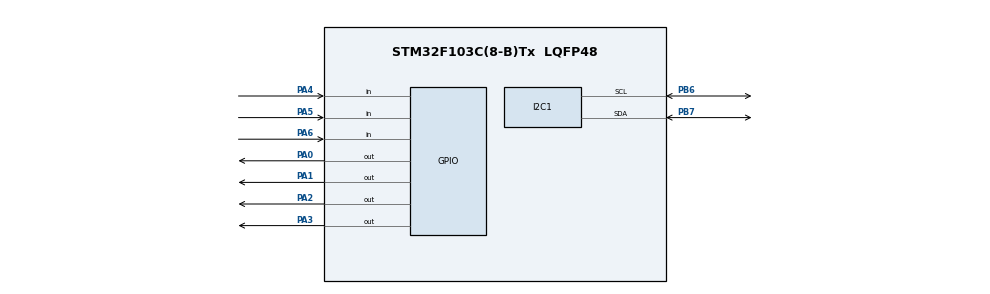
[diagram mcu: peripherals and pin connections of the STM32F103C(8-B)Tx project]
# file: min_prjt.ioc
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I2C1.I2C_Mode=I2C_Fast
Mcu.Family=STM32F1
Mcu.Name=STM32F103C(8-B)Tx
Mcu.Package=LQFP48
NVIC.PriorityGroup=NVIC_PRIORITYGROUP_4
PA0-WKUP.Signal=GPIO_Output
PA1.Signal=GPIO_Output
PA13.Mode=Serial_Wire
PA13.Signal=SYS_JTMS-SWDIO
PA14.Mode=Serial_Wire
PA14.Signal=SYS_JTCK-SWCLK
PA2.Signal=GPIO_Output
PA3.Signal=GPIO_Output
PA4.GPIO_PuPd=GPIO_PULLUP
PA4.Signal=GPIO_Input
PA5.GPIO_PuPd=GPIO_PULLUP
PA5.Signal=GPIO_Input
PA6.GPIO_PuPd=GPIO_PULLUP
PA6.Signal=GPIO_Input
PB6.Mode=I2C
PB6.Signal=I2C1_SCL
PB7.Mode=I2C
PB7.Signal=I2C1_SDA
PD0-OSC_IN.Mode=HSE-External-Oscillator
PD0-OSC_IN.Signal=RCC_OSC_IN
PD1-OSC_OUT.Mode=HSE-External-Oscillator
PD1-OSC_OUT.Signal=RCC_OSC_OUT
ProjectManager.HeapSize=0x200
ProjectManager.StackSize=0x400
ProjectManager.TargetToolchain=STM32CubeIDE
RCC.APB1Freq_Value=8000000
RCC.APB2Freq_Value=8000000
board=custom

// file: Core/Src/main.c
/* USER CODE BEGIN Header */
/**
  ******************************************************************************
  * @file           : main.c
  * @brief          : Main program body
  ******************************************************************************
  * @attention
  *
  * Copyright (c) 2025 STMicroelectronics.
  * All rights reserved.
  *
  * This software is licensed under terms that can be found in the LICENSE file
  * in the root directory of this software component.
  * If no LICENSE file comes with this software, it is provided AS-IS.
  *
  ******************************************************************************
  */
/* USER CODE END Header */
#include "main.h"
#include "ssd1306.h"
#include "fonts.h"
#include <stdio.h>
#include <string.h>
#include <stdlib.h>
#include <math.h>

I2C_HandleTypeDef hi2c1;

void SystemClock_Config(void);
static void MX_GPIO_Init(void);
static void MX_I2C1_Init(void);

/* USER CODE BEGIN 0 */
// ---- KEYPAD PIN DEFINITIONS ----
// Rows: PA0–PA3 (Output)
// Cols: PA4–PA6 (Input + Pull-up)
#define ROW1_Pin GPIO_PIN_0
#define ROW2_Pin GPIO_PIN_1
#define ROW3_Pin GPIO_PIN_2
#define ROW4_Pin GPIO_PIN_3
#define COL1_Pin GPIO_PIN_4
#define COL2_Pin GPIO_PIN_5
#define COL3_Pin GPIO_PIN_6
#define KEYPAD_PORT GPIOA

// ---- FUNCTION DECLARATIONS ----
char Keypad_GetKey(void);
int get_int_from_keypad(char* label);

/* USER CODE END 0 */

int main(void)
{

  /* MCU Configuration--------------------------------------------------------*/

  /* Reset of all peripherals, Initializes the Flash interface and the Systick. */
  HAL_Init();

  /* Configure the system clock */
  SystemClock_Config();

  /* Initialize all configured peripherals */
  MX_GPIO_Init();
  MX_I2C1_Init();
  /* USER CODE BEGIN 2 */
  SSD1306_Init();
  SSD1306_Clear();
  SSD1306_GotoXY(0, 0);
  SSD1306_Puts("BMI Calculator", &Font_7x10, SSD1306_COLOR_WHITE);
  SSD1306_UpdateScreen();
  HAL_Delay(1500);

  // Get Weight (integer)
      int weight = get_int_from_keypad("W(kg):");
      // Get Height (integer)
      int height_cm = get_int_from_keypad("H(cm):");
      float height_m = height_cm / 100.0f;
      float bmi = (float)weight / (height_m * height_m);

      // ---------------------- BMI DISPLAY ----------------------
      char line[30];
      const char* category;
      const char* remark;

      // Determine BMI category and remark
      if (bmi < 18.5f) {
          category = "Underweight";
          remark = "<18.5 = Underweight";
      }
      else if (bmi < 25.0f) {
          category = "Normal";
          remark = "18.5-24.9 = Normal";
      }
      else if (bmi < 30.0f) {
          category = "Overweight";
          remark = "25-29.9 = Overweight";
      }
      else {
          category = "Obese";
          remark = ">=30 = Obese";
      }

      // Clear and display
      SSD1306_Clear();
      SSD1306_GotoXY(0, 0);
      SSD1306_Puts("Result:", &Font_11x18, SSD1306_COLOR_WHITE);

      // Combine BMI + category like “31.12 (Obese)”
      SSD1306_GotoXY(0, 25);
      int integer = (int)bmi;
      int decimal = (int)((bmi - integer) * 100);
      sprintf(line, "%d.%02d (%s)", integer, abs(decimal), category);
      SSD1306_Puts(line, &Font_7x10, SSD1306_COLOR_WHITE);

      // Add bottom description
      SSD1306_GotoXY(0, 50);
      SSD1306_Puts((char*)remark, &Font_7x10, SSD1306_COLOR_WHITE);

      SSD1306_UpdateScreen();

  /* USER CODE END 2 */

  /* Infinite loop */
  while (1)
  {

  }
}

// ---- INTEGER KEYPAD INPUT ----
int get_int_from_keypad( char* label)
{
    char input[4] = ""; // only 3 digits + null
    uint8_t index = 0;
    char key;

    SSD1306_Clear();
    SSD1306_GotoXY(0, 0);
    SSD1306_Puts(label, &Font_11x18, SSD1306_COLOR_WHITE);
    SSD1306_UpdateScreen();

    while (1)
        {
            key = Keypad_GetKey();
            if (key != 0)
            {
                if (key >= '0' && key <= '9')
                {
                    if (index < 3)
                    {
                        input[index++] = key;
                        input[index] = '\0';
                    }
                }
                else if (key == '#') // Enter key
                {
                    if (index > 0) break; // only accept if something entered
                }
                else if (key == '*') // Clear key
                {
                    index = 0;
                    input[0] = '\0';
                }

                // Update display
                SSD1306_GotoXY(0, 30);
                SSD1306_Puts("               ", &Font_11x18, SSD1306_COLOR_BLACK);
                SSD1306_GotoXY(0, 30);
                SSD1306_Puts(input, &Font_11x18, SSD1306_COLOR_WHITE);
                SSD1306_UpdateScreen();
            }
        }

        return atoi(input);
    }

// ---- KEYPAD SCAN FUNCTION ----
const char keypad[4][3] = {
    {'1', '2', '3'},
    {'4', '5', '6'},
    {'7', '8', '9'},
    {'*', '0', '#'}
};

char Keypad_GetKey(void)
{
    for (int row = 0; row < 4; row++)
    {
        // Set all rows HIGH
        HAL_GPIO_WritePin(KEYPAD_PORT, ROW1_Pin | ROW2_Pin | ROW3_Pin | ROW4_Pin, GPIO_PIN_SET);
        // Pull one row LOW
        HAL_GPIO_WritePin(KEYPAD_PORT, (ROW1_Pin << row), GPIO_PIN_RESET);

        for (int col = 0; col < 3; col++)
        {
            if (HAL_GPIO_ReadPin(KEYPAD_PORT, (COL1_Pin << col)) == GPIO_PIN_RESET)
            {
                HAL_Delay(150); // debounce
                while (HAL_GPIO_ReadPin(KEYPAD_PORT, (COL1_Pin << col)) == GPIO_PIN_RESET);
                return keypad[row][col];
            }
        }
    }
    return 0;
}
void SystemClock_Config(void)
{
  RCC_OscInitTypeDef RCC_OscInitStruct = {0};
  RCC_ClkInitTypeDef RCC_ClkInitStruct = {0};

  /** Initializes the RCC Oscillators according to the specified parameters
  * in the RCC_OscInitTypeDef structure.
  */
  RCC_OscInitStruct.OscillatorType = RCC_OSCILLATORTYPE_HSI;
  RCC_OscInitStruct.HSIState = RCC_HSI_ON;
  RCC_OscInitStruct.HSICalibrationValue = RCC_HSICALIBRATION_DEFAULT;
  RCC_OscInitStruct.PLL.PLLState = RCC_PLL_NONE;
  if (HAL_RCC_OscConfig(&RCC_OscInitStruct) != HAL_OK)
  {
    Error_Handler();
  }

  /** Initializes the CPU, AHB and APB buses clocks
  */
  RCC_ClkInitStruct.ClockType = RCC_CLOCKTYPE_HCLK|RCC_CLOCKTYPE_SYSCLK
                              |RCC_CLOCKTYPE_PCLK1|RCC_CLOCKTYPE_PCLK2;
  RCC_ClkInitStruct.SYSCLKSource = RCC_SYSCLKSOURCE_HSI;
  RCC_ClkInitStruct.AHBCLKDivider = RCC_SYSCLK_DIV1;
  RCC_ClkInitStruct.APB1CLKDivider = RCC_HCLK_DIV1;
  RCC_ClkInitStruct.APB2CLKDivider = RCC_HCLK_DIV1;

  if (HAL_RCC_ClockConfig(&RCC_ClkInitStruct, FLASH_LATENCY_0) != HAL_OK)
  {
    Error_Handler();
  }
}

static void MX_I2C1_Init(void)
{

  hi2c1.Instance = I2C1;
  hi2c1.Init.ClockSpeed = 400000;
  hi2c1.Init.DutyCycle = I2C_DUTYCYCLE_2;
  hi2c1.Init.OwnAddress1 = 0;
  hi2c1.Init.AddressingMode = I2C_ADDRESSINGMODE_7BIT;
  hi2c1.Init.DualAddressMode = I2C_DUALADDRESS_DISABLE;
  hi2c1.Init.OwnAddress2 = 0;
  hi2c1.Init.GeneralCallMode = I2C_GENERALCALL_DISABLE;
  hi2c1.Init.NoStretchMode = I2C_NOSTRETCH_DISABLE;
  if (HAL_I2C_Init(&hi2c1) != HAL_OK)
  {
    Error_Handler();
  }

}

static void MX_GPIO_Init(void)
{
  GPIO_InitTypeDef GPIO_InitStruct = {0};

  /* GPIO Ports Clock Enable */
  __HAL_RCC_GPIOD_CLK_ENABLE();
  __HAL_RCC_GPIOA_CLK_ENABLE();
  __HAL_RCC_GPIOB_CLK_ENABLE();

  /*Configure GPIO pin Output Level */
  HAL_GPIO_WritePin(GPIOA, GPIO_PIN_0|GPIO_PIN_1|GPIO_PIN_2|GPIO_PIN_3, GPIO_PIN_RESET);

  /*Configure GPIO pins : PA0 PA1 PA2 PA3 */
  GPIO_InitStruct.Pin = GPIO_PIN_0|GPIO_PIN_1|GPIO_PIN_2|GPIO_PIN_3;
  GPIO_InitStruct.Mode = GPIO_MODE_OUTPUT_PP;
  GPIO_InitStruct.Pull = GPIO_NOPULL;
  GPIO_InitStruct.Speed = GPIO_SPEED_FREQ_LOW;
  HAL_GPIO_Init(GPIOA, &GPIO_InitStruct);

  /*Configure GPIO pins : PA4 PA5 PA6 */
  GPIO_InitStruct.Pin = GPIO_PIN_4|GPIO_PIN_5|GPIO_PIN_6;
  GPIO_InitStruct.Mode = GPIO_MODE_INPUT;
  GPIO_InitStruct.Pull = GPIO_PULLUP;
  HAL_GPIO_Init(GPIOA, &GPIO_InitStruct);

}

void Error_Handler(void)
{
  __disable_irq();
  while (1)
  {
  }
}
